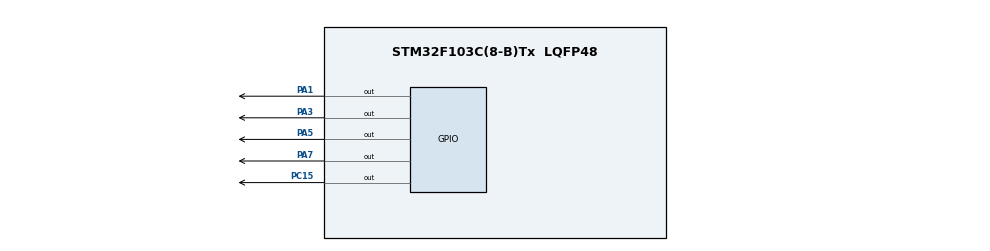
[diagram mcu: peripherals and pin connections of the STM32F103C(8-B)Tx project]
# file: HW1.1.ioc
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Mcu.Family=STM32F1
Mcu.Name=STM32F103C(8-B)Tx
Mcu.Package=LQFP48
NVIC.PriorityGroup=NVIC_PRIORITYGROUP_4
PA1.Signal=GPIO_Output
PA13.Mode=Serial_Wire
PA13.Signal=SYS_JTMS-SWDIO
PA14.Mode=Serial_Wire
PA14.Signal=SYS_JTCK-SWCLK
PA3.Signal=GPIO_Output
PA5.Signal=GPIO_Output
PA7.Signal=GPIO_Output
PC15-OSC32_OUT.Signal=GPIO_Output
ProjectManager.HeapSize=0x200
ProjectManager.StackSize=0x400
ProjectManager.TargetToolchain=MDK-ARM V5.32
RCC.APB1Freq_Value=8000000
RCC.APB2Freq_Value=8000000
board=custom

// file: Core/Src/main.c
/* USER CODE BEGIN Header */
/**
  ******************************************************************************
  * @file           : main.c
  * @brief          : Main program body
  ******************************************************************************
  * @attention
  *
  * Copyright (c) 2026 STMicroelectronics.
  * All rights reserved.
  *
  * This software is licensed under terms that can be found in the LICENSE file
  * in the root directory of this software component.
  * If no LICENSE file comes with this software, it is provided AS-IS.
  *
  ******************************************************************************
  */
/* USER CODE END Header */
#include "main.h"

void SystemClock_Config(void);
static void MX_GPIO_Init(void);

int main(void)
{

  /* MCU Configuration--------------------------------------------------------*/

  /* Reset of all peripherals, Initializes the Flash interface and the Systick. */
  HAL_Init();

  /* Configure the system clock */
  SystemClock_Config();

  /* Initialize all configured peripherals */
  MX_GPIO_Init();

  /* Infinite loop */
  /* USER CODE BEGIN WHILE */
  while (1)
  {
		HAL_GPIO_WritePin(GPIOA,GPIO_PIN_1,GPIO_PIN_SET);
		HAL_Delay(100);
		HAL_GPIO_WritePin(GPIOA,GPIO_PIN_1,GPIO_PIN_RESET);
		HAL_Delay(100);
		HAL_GPIO_WritePin(GPIOA,GPIO_PIN_3,GPIO_PIN_SET);
		HAL_Delay(100);
		HAL_GPIO_WritePin(GPIOA,GPIO_PIN_3,GPIO_PIN_RESET);
		HAL_Delay(100);
		HAL_GPIO_WritePin(GPIOA,GPIO_PIN_5,GPIO_PIN_SET);
		HAL_Delay(100);
		HAL_GPIO_WritePin(GPIOA,GPIO_PIN_5,GPIO_PIN_RESET);
		HAL_Delay(100);
		HAL_GPIO_WritePin(GPIOA,GPIO_PIN_7,GPIO_PIN_SET);
		HAL_Delay(100);
		HAL_GPIO_WritePin(GPIOA,GPIO_PIN_7,GPIO_PIN_RESET);
		HAL_Delay(100);
		HAL_GPIO_WritePin(GPIOC,GPIO_PIN_15,GPIO_PIN_SET);
		HAL_Delay(100);
		HAL_GPIO_WritePin(GPIOC,GPIO_PIN_15,GPIO_PIN_RESET);
		HAL_Delay(100);
    /* USER CODE END WHILE */

  }
}

void SystemClock_Config(void)
{
  RCC_OscInitTypeDef RCC_OscInitStruct = {0};
  RCC_ClkInitTypeDef RCC_ClkInitStruct = {0};

  /** Initializes the RCC Oscillators according to the specified parameters
  * in the RCC_OscInitTypeDef structure.
  */
  RCC_OscInitStruct.OscillatorType = RCC_OSCILLATORTYPE_HSI;
  RCC_OscInitStruct.HSIState = RCC_HSI_ON;
  RCC_OscInitStruct.HSICalibrationValue = RCC_HSICALIBRATION_DEFAULT;
  RCC_OscInitStruct.PLL.PLLState = RCC_PLL_NONE;
  if (HAL_RCC_OscConfig(&RCC_OscInitStruct) != HAL_OK)
  {
    Error_Handler();
  }

  /** Initializes the CPU, AHB and APB buses clocks
  */
  RCC_ClkInitStruct.ClockType = RCC_CLOCKTYPE_HCLK|RCC_CLOCKTYPE_SYSCLK
                              |RCC_CLOCKTYPE_PCLK1|RCC_CLOCKTYPE_PCLK2;
  RCC_ClkInitStruct.SYSCLKSource = RCC_SYSCLKSOURCE_HSI;
  RCC_ClkInitStruct.AHBCLKDivider = RCC_SYSCLK_DIV1;
  RCC_ClkInitStruct.APB1CLKDivider = RCC_HCLK_DIV1;
  RCC_ClkInitStruct.APB2CLKDivider = RCC_HCLK_DIV1;

  if (HAL_RCC_ClockConfig(&RCC_ClkInitStruct, FLASH_LATENCY_0) != HAL_OK)
  {
    Error_Handler();
  }
}

static void MX_GPIO_Init(void)
{
  GPIO_InitTypeDef GPIO_InitStruct = {0};

  /* GPIO Ports Clock Enable */
  __HAL_RCC_GPIOC_CLK_ENABLE();
  __HAL_RCC_GPIOA_CLK_ENABLE();

  /*Configure GPIO pin Output Level */
  HAL_GPIO_WritePin(GPIOC, GPIO_PIN_15, GPIO_PIN_RESET);

  /*Configure GPIO pin Output Level */
  HAL_GPIO_WritePin(GPIOA, GPIO_PIN_1|GPIO_PIN_3|GPIO_PIN_5|GPIO_PIN_7, GPIO_PIN_RESET);

  /*Configure GPIO pin : PC15 */
  GPIO_InitStruct.Pin = GPIO_PIN_15;
  GPIO_InitStruct.Mode = GPIO_MODE_OUTPUT_PP;
  GPIO_InitStruct.Pull = GPIO_NOPULL;
  GPIO_InitStruct.Speed = GPIO_SPEED_FREQ_LOW;
  HAL_GPIO_Init(GPIOC, &GPIO_InitStruct);

  /*Configure GPIO pins : PA1 PA3 PA5 PA7 */
  GPIO_InitStruct.Pin = GPIO_PIN_1|GPIO_PIN_3|GPIO_PIN_5|GPIO_PIN_7;
  GPIO_InitStruct.Mode = GPIO_MODE_OUTPUT_PP;
  GPIO_InitStruct.Pull = GPIO_NOPULL;
  GPIO_InitStruct.Speed = GPIO_SPEED_FREQ_LOW;
  HAL_GPIO_Init(GPIOA, &GPIO_InitStruct);

}

void Error_Handler(void)
{
  __disable_irq();
  while (1)
  {
  }
}
